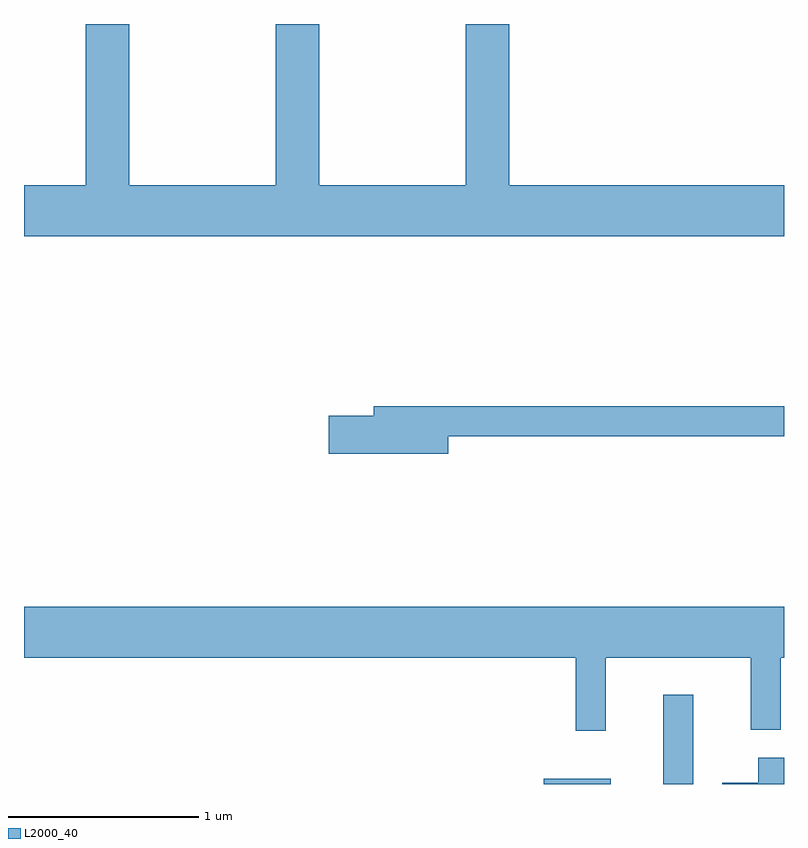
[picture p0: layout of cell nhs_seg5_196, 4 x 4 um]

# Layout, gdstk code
import gdstk
lib = gdstk.Library(unit=1e-6, precision=1e-09)
def R(c, l, rs):  # rectangles x0, y0, x1, y1
    for r in rs: c.add(gdstk.rectangle(r[:2], r[2:], *l))
def P(c, l, *ps):  # polygons
    for p in ps: c.add(gdstk.Polygon(p, *l))
L2000_40 = (2000, 40)

nhs_seg5_196 = lib.new_cell('nhs_seg5_196')
R(nhs_seg5_196, L2000_40, [(192.346,1516.072,192.699,1516.099), (192.976,1516.072,193.134,1516.543)])
P(nhs_seg5_196, L2000_40, [(193.611,1519.224),(192.164,1519.224),(192.164,1520.072),(191.936,1520.072),(191.936,1519.224),(191.164,1519.224),(191.164,1520.072),(190.936,1520.072),(190.936,1519.224),(190.164,1519.224),(190.164,1520.072),(189.936,1520.072),(189.936,1519.224),(189.611,1519.224),(189.611,1518.956),(193.611,1518.956)],
  [(191.844,1517.901),(193.611,1517.901),(193.611,1518.059),(191.451,1518.059),(191.451,1518.009),(191.216,1518.009),(191.216,1517.811),(191.844,1517.811)],
  [(192.674,1516.736),(193.436,1516.736),(193.436,1516.358),(193.594,1516.358),(193.594,1516.736),(193.611,1516.736),(193.611,1517.004),(189.611,1517.004),(189.611,1516.736),(192.516,1516.736),(192.516,1516.353),(192.674,1516.353)],
  [(193.611,1516.209),(193.476,1516.209),(193.476,1516.079),(193.286,1516.079),(193.286,1516.072),(193.611,1516.072)])

lib.write_gds('nhs_seg5_196.gds')
